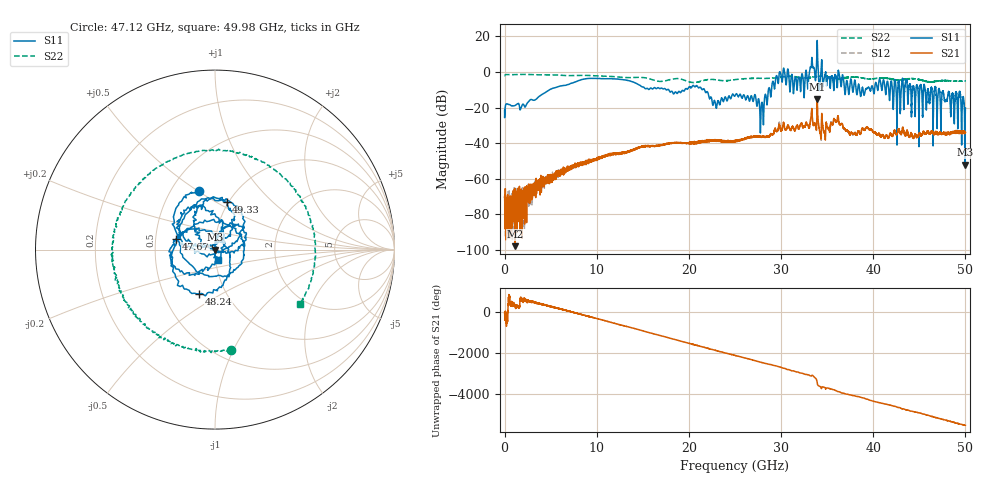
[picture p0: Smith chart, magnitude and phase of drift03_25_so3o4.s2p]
!Created with skrf (http://scikit-rf.org).
# Hz S RI R 50.0
!freq ReS11 ImS11 ReS21 ImS21 ReS12 ImS12 ReS22 ImS22
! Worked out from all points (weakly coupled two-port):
!   10001 points, 300 kHz to 50 GHz, reference 50 ohm
!   highest |S21| = -15.12 dB at 33.92 GHz (marker M1); lowest = -97.8 dB at 1.145 GHz (marker M2)
!   lowest |S11| = -52.1 dB at 49.95 GHz (marker M3), VSWR 1.00, Z = 50.2 + j0.0507 ohm
!   |S11| at or under -10 dB: start of sweep to 4.848 GHz; 21.69 GHz to 28.62 GHz (6.935 GHz wide, 27.6 % of centre); 47.19 GHz to end of sweep (the widest 3 of 43)
!   |S22| runs from -5.9 to -1.3 dB; largest |S21 - S12| = 0.018
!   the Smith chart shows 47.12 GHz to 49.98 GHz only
!   S11 on the Smith chart (normalised r, x): 47.12 GHz: 0.69, +0.50; 47.67 GHz: 0.64, +0.08; 48.24 GHz: 0.75, -0.40; 49.33 GHz: 0.98, +0.56; 49.98 GHz: 1.03, -0.12
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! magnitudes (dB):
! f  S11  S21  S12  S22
! 300 kHz  -21.5  -70.1  -70.8  -2.0
! 1.145 GHz  -18.8  -97.8  -79.6  -1.5
! 8.335 GHz  -4.3  -51.4  -51.4  -1.9
! 16.67 GHz  -8.8  -41.5  -41.3  -5.2
! 21.01 GHz  -8.7  -39.8  -39.5  -5.6
! 22.81 GHz  -16.2  -38.2  -38.6  -4.2
! 25 GHz  -13.4  -38.9  -38.7  -4.3
! 27.02 GHz  -15.7  -36.4  -36.2  -3.5
! 27.91 GHz  -17.1  -36.2  -36.5  -3.5
! 29.69 GHz  -6.4  -31.9  -31.7  -3.1
! 32.32 GHz  -1.5  -30.4  -30.7  -3.3
! 33.34 GHz  7.8  -20.5  -20.7  -2.9
! 33.92 GHz  17.7  -15.1  -15.4  -2.4
! 38.81 GHz  -8.7  -31.6  -31.8  -3.4
! 41.67 GHz  -9.0  -36.5  -36.7  -3.6
! 47.12 GHz  -9.5  -34.8  -34.4  -5.0
! 47.67 GHz  -13.0  -34.0  -34.4  -4.7
! 48.24 GHz  -11.6  -34.7  -34.4  -4.9
! 49.33 GHz  -11.3  -33.4  -33.8  -5.1
! 49.95 GHz  -52.1  -33.5  -34.2  -5.0
! 49.98 GHz  -24.6  -34.0  -34.2  -5.0
! 50 GHz  -20.1  -33.8  -33.8  -5.0
